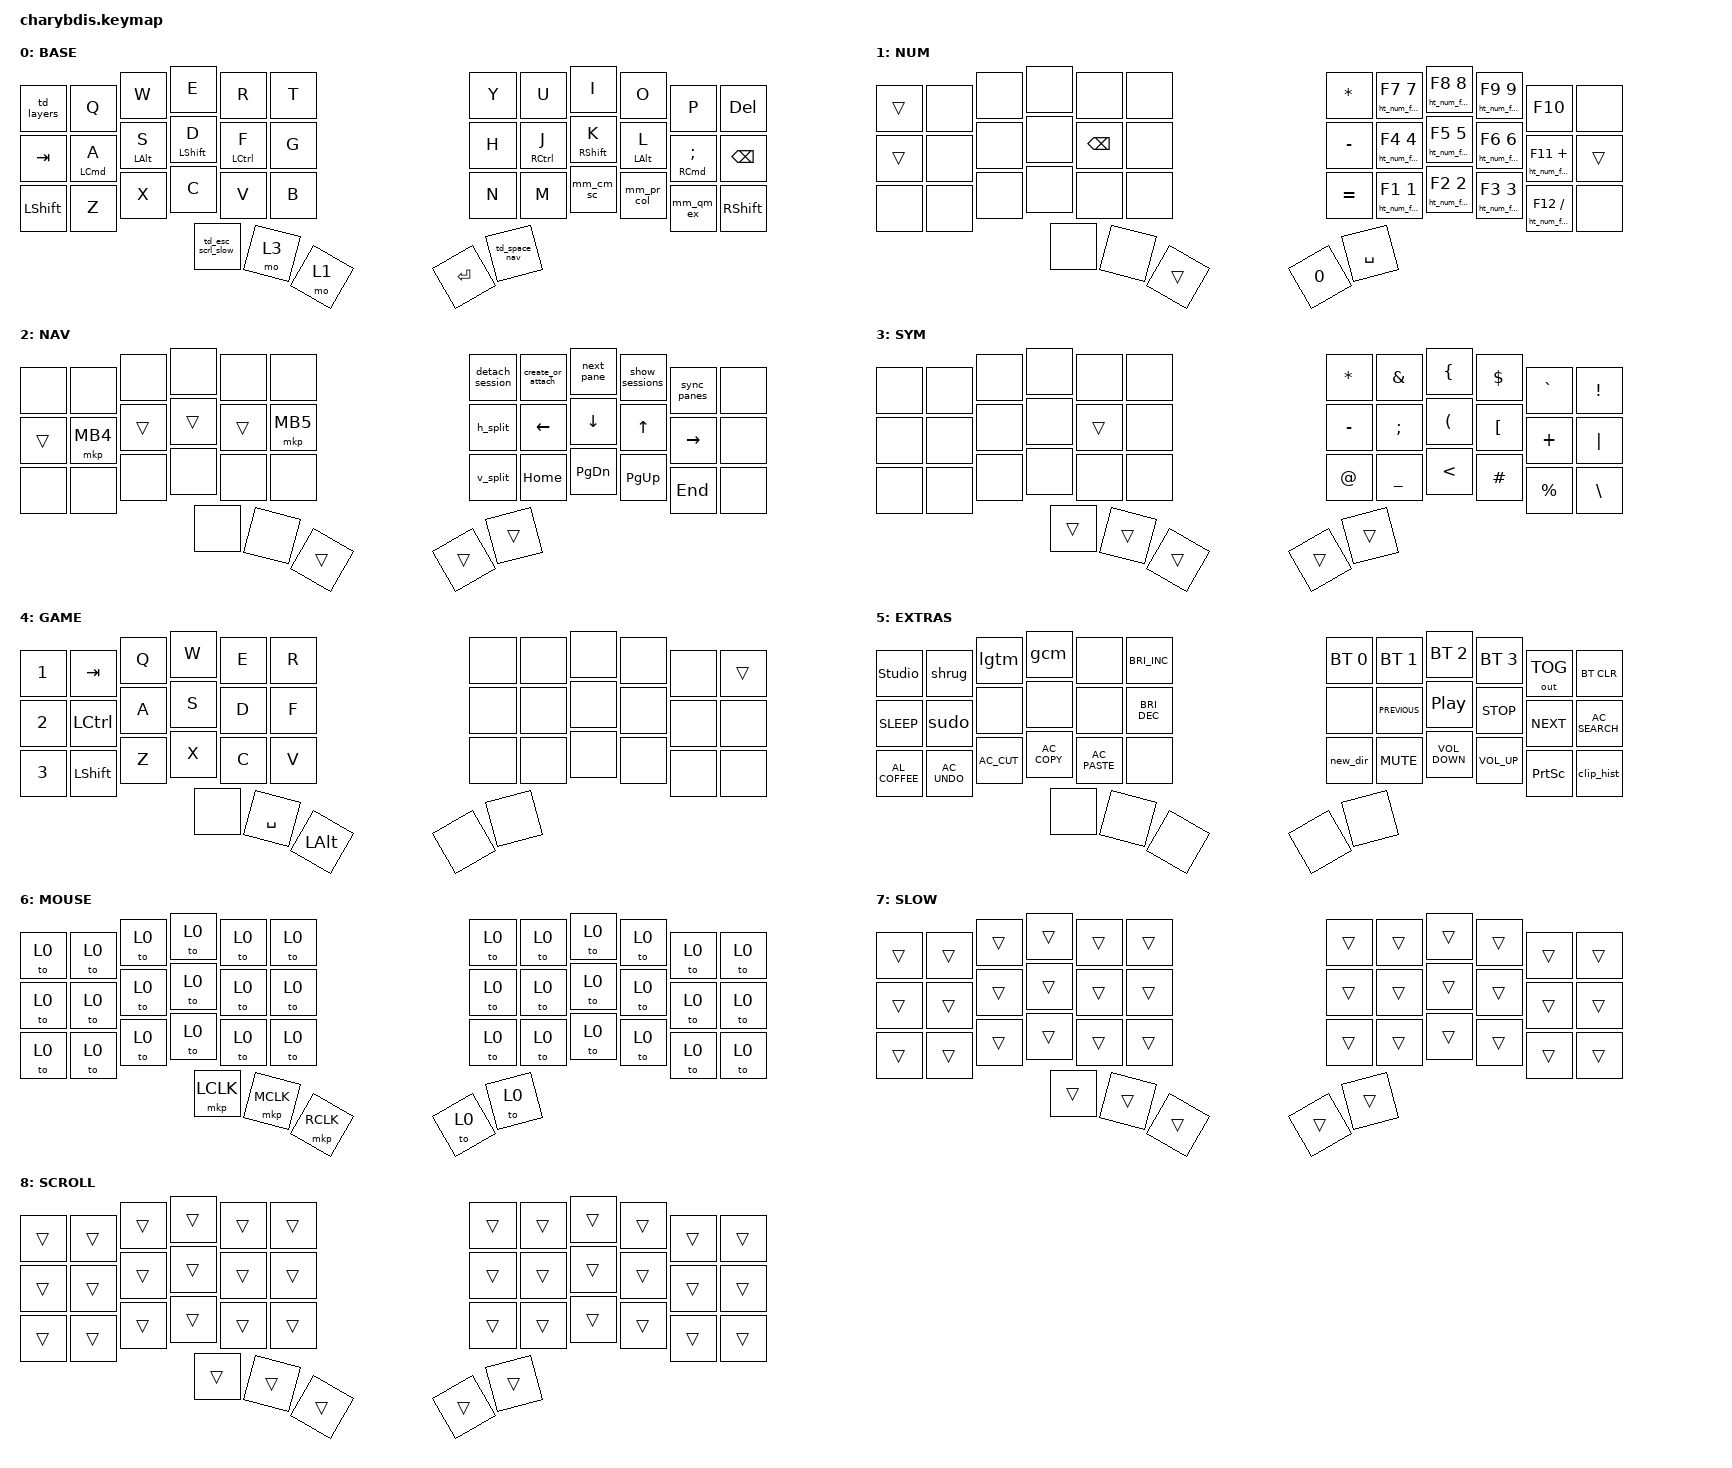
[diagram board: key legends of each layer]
/* upstream bindings and behaviors */
#include <behaviors.dtsi>
#include <dt-bindings/zmk/bt.h>
#include <dt-bindings/zmk/keys.h>
#include <dt-bindings/zmk/mouse.h>
#include <dt-bindings/zmk/outputs.h>
#include <behaviors/mouse_keys.dtsi>
#include <dt-bindings/zmk/ext_power.h>

/* local overlays */
#include "macros.dtsi"
#include "behaviors.dtsi"
#include "combos.dtsi"

/ {
// ╭──────┬──────┬──────┬──────┬──────┬──────╮  ╭──────┬──────┬──────┬──────┬──────┬──────╮
//    00     01     02     03    04      05        06     07     08     09     10     11
// ├──────┼──────┼──────┼──────┼──────┼──────┤  ├──────┼──────┼──────┼──────┼──────┼──────┤
//    12     13     14     15    16      17        18     19     20     21     22     23
// ├──────┼──────┼──────┼──────┼──────┼──────┤  ├──────┼──────┼──────┼──────┼──────┼──────┤
//    24     25     26     27    28      29        30     31     32     33     34     35
// ╰──────┴──────┴──────┼──────┼──────┼──────┤  ├──────┼──────┼──────┴──────┴──────┴──────╯
//                         36     37     38        39     40
//                      ╰──────┴──────┴──────╯  ╰──────┴──────╯
// #define BASE    0
// #define NUM     1
// #define NAV     2
// #define SYM     3
// #define GAME    4
// #define EXTRAS  5
// #define MOUSE   6
// #define SLOW    7
// #define SCROLL  8

    keymap {
        compatible = "zmk,keymap";
        BASE {
            bindings = <
// ╭──────────┬────────────────┬────────────────┬─────────────────┬─────────────────┬──────╮  ╭──────┬──────────────────┬──────────────────┬─────────────────┬────────────────────────┬───────────╮
    &td_layers &kp Q            &kp W            &kp E             &kp R             &kp T     &kp Y  &kp U              &kp I              &kp O             &kp P                     &kp DEL
// ├──────────┼────────────────┼────────────────┼─────────────────┼─────────────────┼──────┤  ├──────┼──────────────────┼──────────────────┼─────────────────┼────────────────────────┼───────────┤
    &kp TAB    &ht_left LCMD A  &ht_left LALT S  &ht_left LSHFT D  &ht_left LCTRL F  &kp G     &kp H  &ht_right RCTRL J  &ht_right RSHFT K  &ht_right LALT L  &ht_right RCMD SEMICOLON  &kp BSPC
// ├──────────┼────────────────┼────────────────┼─────────────────┼─────────────────┼──────┤  ├──────┼──────────────────┼──────────────────┼─────────────────┼────────────────────────┼───────────┤
    &kp LSHFT  &kp Z            &kp X            &kp C             &kp V             &kp B     &kp N  &kp M              &mm_cm_sc          &mm_pr_col        &mm_qm_ex                 &kp RSHFT
// ╰──────────┴────────────────┴────────────────┼─────────────────┼─────────────────┼──────┤  ├──────┼──────────────────┼──────────────────┴─────────────────┴────────────────────────┴───────────╯
                                                           &td_esc_scrl_slow  &mo 3  &mo 1     &kp ENTER  &td_space_nav
                                                       // ╰──────────────────┴──────┴──────╯  ╰──────────┴──────────────╯
            >;
        };

        NUM {
            bindings = <
&trans   &none  &none  &none  &none          &none            &kp ASTRK  &ht_num_func F7 N7  &ht_num_func F8 N8  &ht_num_func F9 N9  &kp F10                 &none
&trans   &none  &none  &none  &kp BACKSPACE  &none            &kp MINUS  &ht_num_func F4 N4  &ht_num_func F5 N5  &ht_num_func F6 N6  &ht_num_func F11 PLUS   &trans
&none    &none  &none  &none  &none          &none            &kp EQUAL  &ht_num_func F1 N1  &ht_num_func F2 N2  &ht_num_func F3 N3  &ht_num_func F12 SLASH  &none
                       &none  &none          &trans           &kp N0     &kp SPACE
            >;
        };

        NAV {
            bindings = <
&none   &none     &none   &none   &none   &none        &detach_session  &create_or_attach  &next_pane   &show_sessions  &sync_panes       &none
&trans  &mkp MB4  &trans  &trans  &trans  &mkp MB5     &h_split         &kp LEFT_ARROW     &kp DOWN     &kp UP          &kp RIGHT_ARROW   &none
&none   &none     &none   &none   &none   &none        &v_split         &kp HOME           &kp PG_DN    &kp PG_UP       &kp END           &none
                        &none   &none   &trans         &trans   &trans
            >;
        };

        SYM {
            bindings = <
&none  &none  &none  &none  &none   &none      &kp ASTRK   &kp AMPS       &kp LEFT_BRACE &kp DLLR &kp GRAVE &kp EXCL
&none  &none  &none  &none  &trans  &none      &kp MINUS   &kp SEMICOLON  &kp LPAR       &kp LBKT &kp PLUS  &kp PIPE
&none  &none  &none  &none  &none   &none      &kp AT_SIGN &kp UNDERSCORE &kp LT         &kp HASH &kp PRCNT &kp BSLH
                   &trans  &trans  &trans      &trans      &trans
            >;
        };

        GAME {
            bindings = <
&kp N1  &kp TAB    &kp Q  &kp W   &kp E      &kp R           &none  &none  &none  &none  &none  &trans
&kp N2  &kp LCTRL  &kp A  &kp S   &kp D      &kp F           &none  &none  &none  &none  &none  &none
&kp N3  &kp LSHFT  &kp Z  &kp X   &kp C      &kp V           &none  &none  &none  &none  &none  &none
                          &none   &kp SPACE  &kp LEFT_ALT    &none  &none
            >;
        };

        EXTRAS {
            bindings = <
&studio_unlock    &shrug          &lgtm           &gcm            &none           &kp C_BRIGHTNESS_INC    &bt BT_SEL 0  &bt BT_SEL 1    &bt BT_SEL 2       &bt BT_SEL 3  &out OUT_TOG         &bt BT_CLR
&kp C_SLEEP       &sudo           &none           &none           &none           &kp C_BRIGHTNESS_DEC    &none         &kp C_PREVIOUS  &kp C_PLAY_PAUSE   &kp C_STOP    &kp C_NEXT           &kp C_AC_SEARCH
&kp C_AL_COFFEE   &kp C_AC_UNDO   &kp C_AC_CUT    &kp C_AC_COPY   &kp C_AC_PASTE  &none                   &new_dir      &kp K_MUTE      &kp C_VOLUME_DOWN  &kp C_VOLUME_UP   &kp PRINTSCREEN  &clip_hist
                                                                                   &none  &none  &none    &none         &none
            >;
        };

        MOUSE {
            bindings = <
&to 0    &to 0    &to 0    &to 0    &to 0    &to 0    &to 0    &to 0    &to 0    &to 0    &to 0    &to 0
&to 0    &to 0    &to 0    &to 0    &to 0    &to 0    &to 0    &to 0    &to 0    &to 0    &to 0    &to 0
&to 0    &to 0    &to 0    &to 0    &to 0    &to 0    &to 0    &to 0    &to 0    &to 0    &to 0    &to 0
                              &mkp LCLK    &mkp MCLK    &mkp RCLK    &to 0    &to 0
            >;
        };

        SLOW {
            bindings = <
&trans    &trans    &trans    &trans    &trans    &trans    &trans    &trans    &trans    &trans    &trans    &trans
&trans    &trans    &trans    &trans    &trans    &trans    &trans    &trans    &trans    &trans    &trans    &trans
&trans    &trans    &trans    &trans    &trans    &trans    &trans    &trans    &trans    &trans    &trans    &trans
                              &trans    &trans    &trans    &trans    &trans
            >;
        };

        SCROLL {
            bindings = <
&trans    &trans    &trans    &trans    &trans    &trans    &trans    &trans    &trans    &trans    &trans    &trans
&trans    &trans    &trans    &trans    &trans    &trans    &trans    &trans    &trans    &trans    &trans    &trans
&trans    &trans    &trans    &trans    &trans    &trans    &trans    &trans    &trans    &trans    &trans    &trans
                              &trans    &trans    &trans    &trans    &trans
            >;
        };
    };
};


#ifdef CONFIG_ZMK_SPLIT_ROLE_CENTRAL
/ {
    /* input config for mouse move mode */
    trackball_move_listener {
        compatible = "zmk,input-behavior-listener";
        device = <&vtrackball>;
        layers = <0 6>;
        evt-type = <INPUT_EV_REL>;
        x-input-code = <INPUT_REL_X>;
        y-input-code = <INPUT_REL_Y>;
        scale-multiplier = <4>;
        scale-divisor = <5>;
        // bindings = <&ib_toggle_layer 7>;
    };

    /* input config for slow move mode */
    trackball_snipe_listener {
        compatible = "zmk,input-behavior-listener";   
        device = <&vtrackball>;
        layers = <7>;
        evt-type = <INPUT_EV_REL>;
        x-input-code = <INPUT_REL_X>;
        y-input-code = <INPUT_REL_Y>;
        scale-multiplier = <1>;
        scale-divisor = <6>;
    };

    /* input config for mouse scroll mode */
    trackball_scroll_listener {
        compatible = "zmk,input-behavior-listener";
        device = <&vtrackball>;
        layers = <8>;
        evt-type = <INPUT_EV_REL>;            
        x-input-code = <INPUT_REL_MISC>;
        y-input-code = <INPUT_REL_WHEEL>;
        y-invert;
        bindings = <&ib_wheel_scaler 1 14>;
    };

    /* define a resolution down scaler only for INPUT_REL_WHEEL */
    ib_wheel_scaler: ib_wheel_scaler {
        compatible = "zmk,input-behavior-scaler";
        #binding-cells = <2>;
        evt-type = <INPUT_EV_REL>;
        input-code = <INPUT_REL_WHEEL>;
    };

    /* adjust cooldown waiting period for mouse key layer after activated */
    ib_toggle_layer: ib_toggle_layer {
        compatible = "zmk,input-behavior-tog-layer";
        #binding-cells = <1>;
        time-to-live-ms = <750>;
    };
};
#endif

// #ifdef CONFIG_ZMK_SPLIT_ROLE_PERIPHERAL
// / {
//     input_relay_config_trackball {
//         compatible     = "zmk,split-peripheral-input-relay";
//         device         = <&trackball>;
//         relay-channel  = <111>;
//         status         = "okay";
//     };
// };
// #endif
